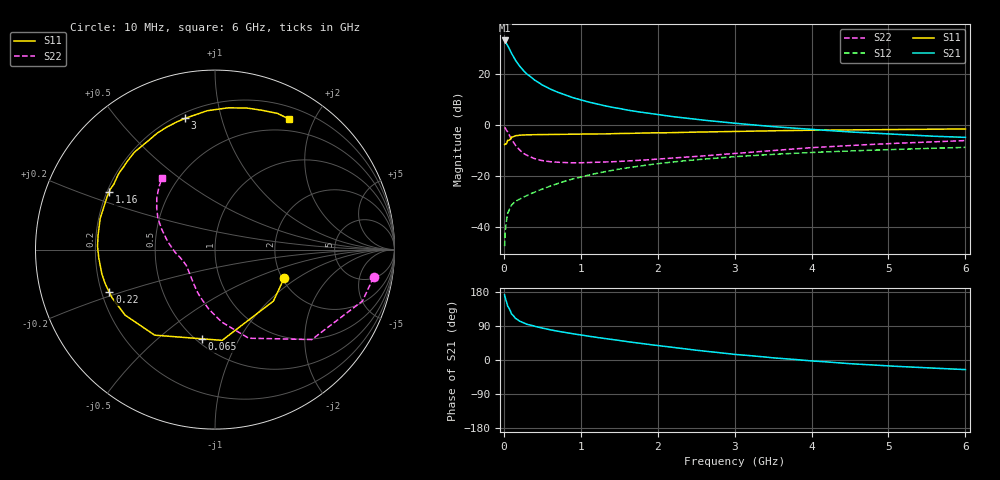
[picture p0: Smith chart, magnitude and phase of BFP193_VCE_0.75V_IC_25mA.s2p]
! Infineon Technologies  Discrete & RF Semiconductors
! BFP193
! VCE = 0.75V,  IC =  25 mA
! Common Emitter S-Parameters:  Jan 2016
# GHz  S  MA  R  50
!  f  S11  S21  S12  S22
! GHz  MAG  ANG  MAG  ANG  MAG  ANG  MAG  ANG
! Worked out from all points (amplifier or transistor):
!   210 points, 10 MHz to 6 GHz, reference 50 ohm
!   highest |S21| = 33.1 dB at 10 MHz (marker M1)
!   |S21| within 3 dB of that: start of sweep to 67.33 MHz
!   unconditionally stable (mu >= 1): 547.6 MHz to 5.268 GHz
!   at 185 MHz: K = 0.58, MSG = 26.6 dB, |S12| = -29.2 dB
!   at 1.52 GHz: K = 1.11, MAG = 9.8 dB, |S12| = -17.1 dB
!   at 6 GHz: K = 1.00, MSG = 2.0 dB, |S12| = -8.7 dB
!   S11 on the Smith chart (normalised r, x): 10 MHz: 2.06, -0.78; 65 MHz: 0.53, -0.71; 220 MHz: 0.23, -0.18; 1.16 GHz: 0.21, +0.24; 3 GHz: 0.23, +0.77; 6 GHz: 0.35, +1.67
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0.01  0.417 -22.2  45.03 171.7  0.0043 80.0  0.8965 -9.9
0.02  0.4338 -41.4  42.73 162.4  0.0087 73.9  0.8703 -19.2
0.05  0.5072 -85.5  36.03 142.2  0.0188 61.5  0.7363 -42.9
0.065  0.5023 -98.4  32.42 137.5  0.0212 56.7  0.6612 -49.0
0.1  0.5833 -125.2  25.22 121.6  0.0273 49.0  0.5283 -69.2
0.105  0.584 -127.1  24.52 120.7  0.0278 48.6  0.5145 -70.4
0.15  0.6197 -143.9  18.54 110.1  0.0322 45.5  0.4042 -84.9
0.2  0.6332 -154.9  14.52 103.0  0.0355 45.9  0.3318 -96.3
0.22  0.6348 -158.0  13.41 101.2  0.0368 46.4  0.3117 -99.6
0.26  0.6412 -163.7  11.4 97.3  0.0394 47.5  0.2783 -106.8
0.3  0.6447 -167.7  9.937 94.3  0.042 48.9  0.2568 -112.3
0.4  0.6493 -176.0  7.571 88.8  0.049 51.6  0.2206 -123.4
0.5  0.6548 178.4  6.067 84.1  0.0562 54.0  0.202 -131.7
0.7  0.6589 168.3  4.384 75.8  0.072 56.4  0.1877 -142.9
1.02  0.6655 156.3  3.039 65.5  0.0983 56.8  0.1837 -153.6
1.16  0.6717 151.5  2.688 61.2  0.1102 56.1  0.1864 -157.4
2.02  0.7053 126.7  1.586 37.7  0.1772 47.1  0.2172 -174.2
3  0.7502 102.8  1.087 14.8  0.2409 34.5  0.2786 167.3
3.1  0.7534 100.8  1.054 13.2  0.2461 33.2  0.2859 165.5
4.1  0.7953 83.2  0.804 -3.7  0.296 21.0  0.3694 149.9
5.1  0.8222 69.9  0.659 -16.7  0.3345 9.8  0.4401 137.0
6  0.8364 60.3  0.575 -25.3  0.3668 0.3  0.4974 126.4
